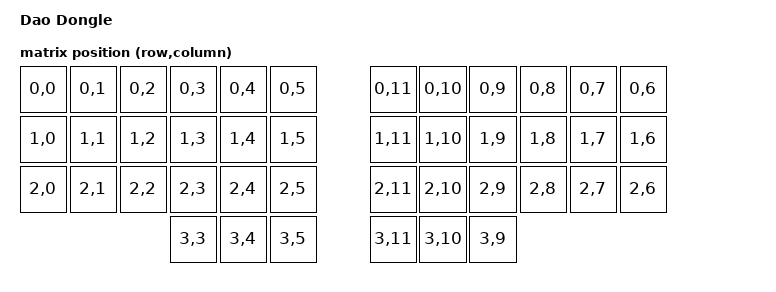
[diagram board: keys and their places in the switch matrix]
/*
 * Copyright (c) 2021 Rafael Yumagulov
 *
 * SPDX-License-Identifier: MIT
 */

/dts-v1/;
#include <nordic/nrf52840_qiaa.dtsi>
#include <dt-bindings/zmk/matrix_transform.h>

/ {
	model = "Dao Dongle";
	compatible = "dao,dongle";

	aliases {
        zephyr-udc0 = &usbd;
    };

	chosen {
		zephyr,code-partition = &code_partition;
		zephyr,sram = &sram0;
		zephyr,flash = &flash0;		
		zmk,usb = &usbd;
		zmk,matrix_transform = &default_transform;
	};

	// Matrix transform for the full split keyboard (left + right combined)
	// Dongle has no physical keys but needs to know the keymap size
	default_transform: keymap_transform_0 {
		compatible = "zmk,matrix-transform";
		columns = <12>;
		rows = <4>;

		// Full 42-key Dao layout (left 6 cols + right 6 cols, 4 rows)
		// | SW1  | SW2  | SW3  | SW4  | SW5  | SW6  |   | SW6  | SW5  | SW4  | SW3  | SW2  | SW1  |
		// | SW7  | SW8  | SW9  | SW10 | SW11 | SW12 |   | SW12 | SW11 | SW10 | SW9  | SW8  | SW7  |
		// | SW13 | SW14 | SW15 | SW16 | SW17 | SW18 |   | SW18 | SW17 | SW16 | SW15 | SW14 | SW13 |
		// |      |      |      | SW20 | SW21 | SW22 |   | SW22 | SW21 | SW20 |      |      |      |
		map = <
			RC(0,0) RC(0,1) RC(0,2) RC(0,3) RC(0,4) RC(0,5)  RC(0,11) RC(0,10) RC(0,9) RC(0,8) RC(0,7) RC(0,6)
			RC(1,0) RC(1,1) RC(1,2) RC(1,3) RC(1,4) RC(1,5)  RC(1,11) RC(1,10) RC(1,9) RC(1,8) RC(1,7) RC(1,6)
			RC(2,0) RC(2,1) RC(2,2) RC(2,3) RC(2,4) RC(2,5)  RC(2,11) RC(2,10) RC(2,9) RC(2,8) RC(2,7) RC(2,6)
			                        RC(3,3) RC(3,4) RC(3,5)  RC(3,11) RC(3,10) RC(3,9)
		>;
	};

	leds {
		compatible = "gpio-leds";
		blue_led: led_0 {
			gpios = <&gpio1 15 GPIO_ACTIVE_HIGH>;
		};
	};
};

&adc {
	status = "okay";
};

&gpiote {
	status = "okay";
};

&gpio0 {
	status = "okay";
};

&gpio1 {
	status = "okay";
};

&usbd {
	status = "okay";
};

&radio {
    status = "okay";
};

blue_led: led_0 {
    gpios = <&gpio1 15 GPIO_ACTIVE_HIGH>;
};

&flash0 {
	/*
	 * For more information, see:
	 * http://docs.zephyrproject.org/latest/devices/dts/flash_partitions.html
	 */
	partitions {
		compatible = "fixed-partitions";
		#address-cells = <1>;
		#size-cells = <1>;

		/*
		 * Nordic Open Bootloader partition layout
		 * Open Bootloader occupies 0xE0000-0x100000 (128KB)
		 * Reference: https://infocenter.nordicsemi.com/topic/sdk_nrf5_v17.0.2/lib_bootloader.html
		 */

		boot_partition: partition@0 {
			label = "mbr";
			reg = <0x00000000 0x00001000>;
		};
		sd_partition: partition@1000 {
			label = "softdevice";
			reg = <0x00001000 0x00026000>;
		};
		code_partition: partition@27000 {
			label = "code_partition";
			reg = <0x00027000 0x000b1000>;
		};

		/*
		 * Storage partition will be used by FCB/LittleFS/NVS
		 * if enabled.
		 */
		storage_partition: partition@d8000 {
			label = "storage";
			reg = <0x000d8000 0x00008000>;
		};

		/* Nordic Open Bootloader - 128KB at end of flash */
		bootloader_partition: partition@e0000 {
			label = "bootloader";
			reg = <0x000e0000 0x00020000>;
		};
	};
};
